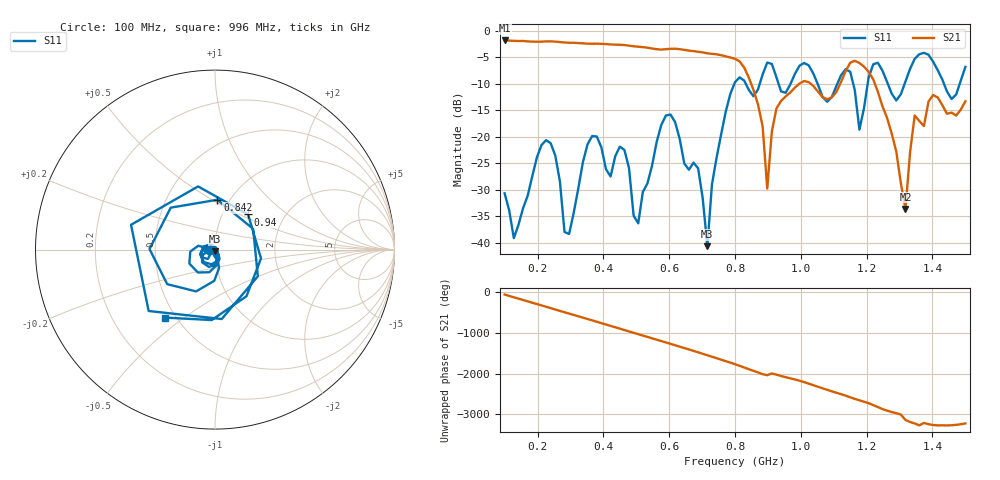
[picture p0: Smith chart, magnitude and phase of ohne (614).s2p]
! NanoVNA-App
! Date: 2025-09-25 14:25:35
! Start: 100MHz Stop: 1,5GHz Points: 101
! S-Parameter data: F S11 S21 S12 S22
# Hz S RI R 50
!  Frequency  S11_Real  S11_Imag  S21_Real  S21_Imag  S12_Real  S12_Imag  S22_Real  S22_Imag
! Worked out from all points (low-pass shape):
!   101 points, 100 MHz to 1.5 GHz, reference 50 ohm
!   highest |S21| = -1.79 dB at 100 MHz (marker M1); lowest = -33.6 dB at 1.318 GHz (marker M2)
!   |S21| within 3 dB of the highest: start of sweep to 771.6 MHz
!   lowest |S11| = -40.6 dB at 716 MHz (marker M3), VSWR 1.02, Z = 49.7 - j0.887 ohm
!   |S11| at or under -10 dB: start of sweep to 797.9 MHz; 833 MHz to 875.1 MHz (42.07 MHz wide, 4.93 % of centre); 1.051 GHz to 1.111 GHz (59.53 MHz wide, 5.51 % of centre) (the widest 3 of 7)
!   S12 and S22 are empty: the file has one direction only
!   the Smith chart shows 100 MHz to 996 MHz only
!   S11 on the Smith chart (normalised r, x): 100 MHz: 0.94, -0.01; 842 MHz: 0.88, +0.53; 940 MHz: 1.32, +0.56; 996 MHz: 0.44, -0.43
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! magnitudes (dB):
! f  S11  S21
! 100 MHz  -30.6  -1.8
! 128 MHz  -39.1  -1.9
! 226 MHz  -20.6  -2.0
! 296 MHz  -38.3  -2.2
! 338 MHz  -24.7  -2.3
! 464 MHz  -22.4  -2.7
! 506 MHz  -36.3  -3.0
! 576 MHz  -17.7  -3.5
! 688 MHz  -25.9  -3.9
! 716 MHz  -40.6  -4.2
! 800 MHz  -9.7  -5.3
! 842 MHz  -11.1  -8.8
! 898 MHz  -6.0  -29.7
! 940 MHz  -11.4  -13.2
! 996 MHz  -6.6  -9.9
! 1.038 GHz  -8.0  -10.4
! 1.178 GHz  -18.6  -6.0
! 1.22 GHz  -6.3  -9.1
! 1.276 GHz  -11.8  -19.3
! 1.318 GHz  -9.5  -33.6
! 1.346 GHz  -5.3  -15.9
! 1.5 GHz  -6.8  -13.3
